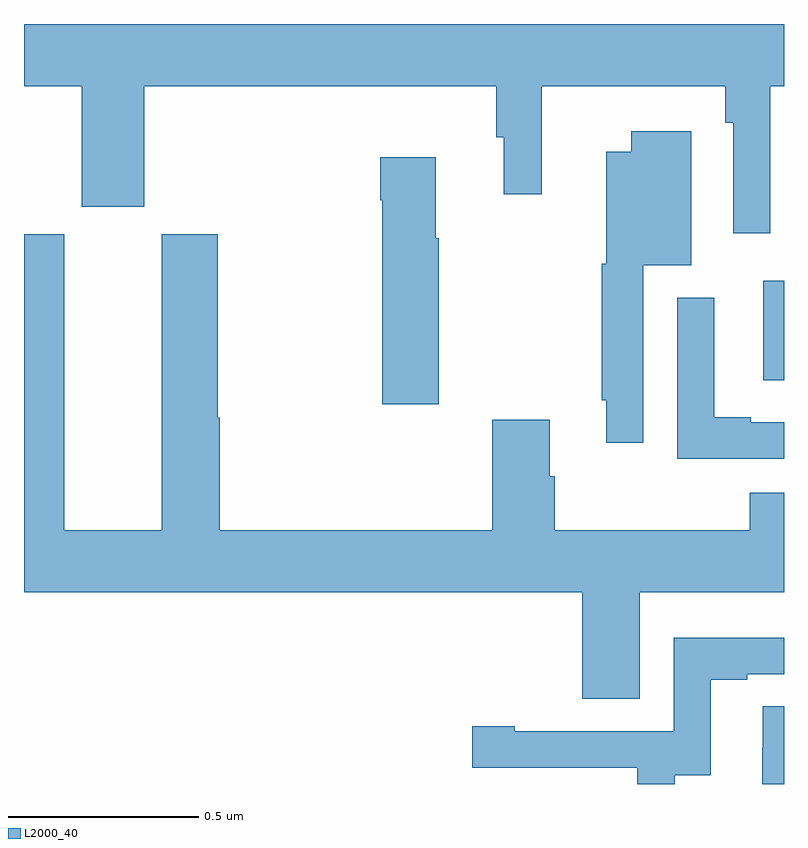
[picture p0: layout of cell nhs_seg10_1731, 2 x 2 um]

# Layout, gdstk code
import gdstk
lib = gdstk.Library(unit=1e-6, precision=1e-09)
def R(c, l, rs):  # rectangles x0, y0, x1, y1
    for r in rs: c.add(gdstk.rectangle(r[:2], r[2:], *l))
def P(c, l, *ps):  # polygons
    for p in ps: c.add(gdstk.Polygon(p, *l))
L2000_40 = (2000, 40)

nhs_seg10_1731 = lib.new_cell('nhs_seg10_1731')
R(nhs_seg10_1731, L2000_40, [(133.946,1279.562,134,1279.825)])
P(nhs_seg10_1731, L2000_40, [(133.964,1280.336),(134,1280.336),(134,1280.5),(132,1280.5),(132,1280.336),(132.152,1280.336),(132.152,1280.019),(132.316,1280.019),(132.316,1280.336),(133.243,1280.336),(133.243,1280.202),(133.262,1280.202),(133.262,1280.052),(133.362,1280.052),(133.362,1280.336),(133.846,1280.336),(133.846,1280.24),(133.866,1280.24),(133.866,1279.95),(133.964,1279.95)],
  [(133.629,1279.865),(133.756,1279.865),(133.756,1280.218),(133.598,1280.218),(133.598,1280.164),(133.532,1280.164),(133.532,1279.869),(133.521,1279.869),(133.521,1279.51),(133.532,1279.51),(133.532,1279.398),(133.629,1279.398)],
  [(133.092,1279.936),(133.084,1279.936),(133.084,1280.149),(132.938,1280.149),(132.938,1280.036),(132.943,1280.036),(132.943,1279.5),(133.092,1279.5)],
  [(133.621,1279.004),(134,1279.004),(134,1279.266),(133.91,1279.266),(133.91,1279.168),(133.397,1279.168),(133.397,1279.31),(133.384,1279.31),(133.384,1279.459),(133.232,1279.459),(133.232,1279.168),(132.515,1279.168),(132.515,1279.464),(132.51,1279.464),(132.51,1279.947),(132.362,1279.947),(132.362,1279.168),(132.106,1279.168),(132.106,1279.947),(132,1279.947),(132,1279.004),(133.469,1279.004),(133.469,1278.724),(133.621,1278.724)],
  [(134,1279.452),(133.912,1279.452),(133.912,1279.465),(133.816,1279.465),(133.816,1279.78),(133.719,1279.78),(133.719,1279.356),(134,1279.356)],
  [(133.713,1278.523),(133.807,1278.523),(133.807,1278.774),(133.903,1278.774),(133.903,1278.789),(134,1278.789),(134,1278.885),(133.71,1278.885),(133.71,1278.639),(133.291,1278.639),(133.291,1278.652),(133.179,1278.652),(133.179,1278.543),(133.614,1278.543),(133.614,1278.5),(133.713,1278.5)],
  [(134,1278.704),(133.944,1278.704),(133.944,1278.596),(133.943,1278.596),(133.943,1278.5),(134,1278.5)])

lib.write_gds('nhs_seg10_1731.gds')
